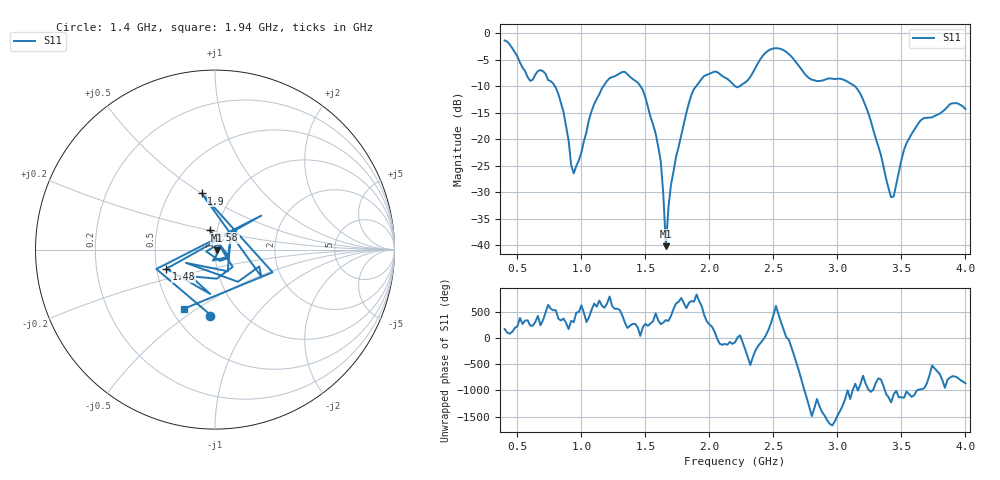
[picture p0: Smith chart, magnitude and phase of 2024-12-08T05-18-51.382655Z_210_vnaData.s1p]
!Created with skrf (http://scikit-rf.org).
# Hz S RI R 50.0
!freq ReS11 ImS11
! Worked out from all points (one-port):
!   181 points, 400 MHz to 4 GHz, reference 50 ohm
!   lowest |S11| = -40.2 dB at 1.66 GHz (marker M1), VSWR 1.02, Z = 50.9 - j0.388 ohm
!   |S11| at or under -10 dB: 793.2 MHz to 1.171 GHz (377.9 MHz wide, 38.5 % of centre); 1.462 GHz to 1.895 GHz (433.3 MHz wide, 25.8 % of centre); 3.138 GHz to end of sweep (the widest 3 of 4)
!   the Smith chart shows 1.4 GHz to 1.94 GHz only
!   S11 on the Smith chart (normalised r, x): 1.4 GHz: 0.72, -0.62; 1.48 GHz: 0.56, -0.13; 1.58 GHz: 0.92, +0.20; 1.9 GHz: 0.72, +0.50; 1.94 GHz: 0.58, -0.44
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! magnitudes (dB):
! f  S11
! 400 MHz  -1.3
! 600 MHz  -9.0
! 720 MHz  -7.6
! 860 MHz  -14.8
! 940 MHz  -26.4
! 1.1 GHz  -13.3
! 1.3 GHz  -7.5
! 1.4 GHz  -8.6
! 1.48 GHz  -10.7
! 1.58 GHz  -18.9
! 1.62 GHz  -24.2
! 1.64 GHz  -30.4
! 1.66 GHz  -40.2
! 1.7 GHz  -28.6
! 1.76 GHz  -21.4
! 1.9 GHz  -9.9
! 1.94 GHz  -8.5
! 2.06 GHz  -7.3
! 2.2 GHz  -10.0
! 2.48 GHz  -3.0
! 2.66 GHz  -4.9
! 2.8 GHz  -8.7
! 3.1 GHz  -9.4
! 3.24 GHz  -14.9
! 3.42 GHz  -31.0
! 3.56 GHz  -19.9
! 3.88 GHz  -13.4
! 4 GHz  -14.3
